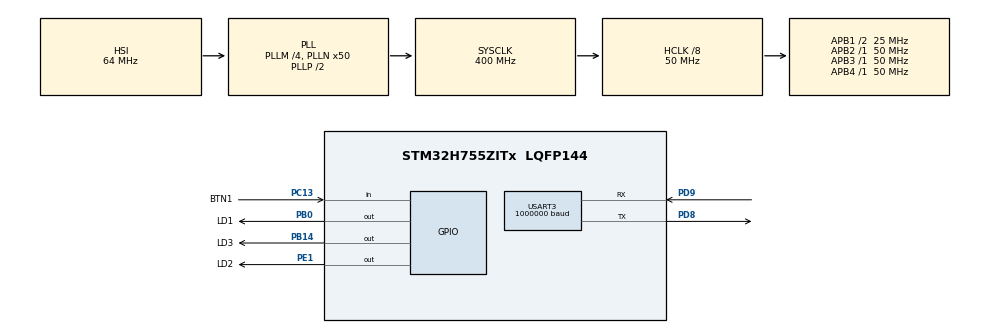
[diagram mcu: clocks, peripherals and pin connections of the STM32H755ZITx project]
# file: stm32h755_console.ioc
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CORTEX_M7.default_mode_Activation=1
CortexM4.IPs=CORTEX_M4\:I,FATFS_M4\:I,FREERTOS_M4\:I,IWDG2\:I,OPENAMP_M4\:I,PDM2PCM_M4\:I,PWR,RCC,RESMGR_UTILITY,SYS_M4\:I,USB_DEVICE_M4\:I,USB_HOST_M4\:I,VREFBUF,WWDG2\:I,GPIO,DMA,BDMA,MDMA,NVIC2\:I
CortexM7.IPs=CORTEX_M7\:I,FATFS_M7\:I,FREERTOS_M7\:I,IWDG1\:I,OPENAMP_M7\:I,PDM2PCM_M7\:I,PWR\:I,RCC\:I,RESMGR_UTILITY\:I,SYS\:I,USB_DEVICE_M7\:I,USB_HOST_M7\:I,VREFBUF\:I,WWDG1\:I,GPIO\:I,DMA\:I,BDMA\:I,MDMA\:I,NVIC1\:I,USART3\:I,TIM1\:I,TIM2\:I
CortexM7.Pins=PC13,PB0,PB14,PE1
Dma.Request0=USART3_TX
Dma.USART3_TX.0.Instance=DMA1_Stream0
Dma.USART3_TX.0.Direction=DMA_MEMORY_TO_PERIPH
Dma.USART3_TX.0.PeriphInc=DMA_PINC_DISABLE
Dma.USART3_TX.0.MemInc=DMA_MINC_ENABLE
Dma.USART3_TX.0.PeriphDataAlignment=DMA_PDATAALIGN_BYTE
Dma.USART3_TX.0.MemDataAlignment=DMA_MDATAALIGN_BYTE
Dma.USART3_TX.0.Mode=DMA_NORMAL
Dma.USART3_TX.0.Priority=DMA_PRIORITY_LOW
Dma.USART3_TX.0.FIFOMode=DMA_FIFOMODE_DISABLE
Mcu.Family=STM32H7
Mcu.Name=STM32H755ZITx
Mcu.Package=LQFP144
NVIC1.DMA1_Stream0_IRQn=true\:5\:0\:false\:false\:true\:true\:true\:true
NVIC1.FPU_IRQn=true\:0\:0\:false\:false\:true\:true\:false\:true
NVIC1.PriorityGroup=NVIC_PRIORITYGROUP_4
NVIC1.RCC_IRQn=true\:0\:0\:false\:false\:true\:true\:false\:true
NVIC1.USART3_IRQn=true\:0\:0\:false\:false\:true\:true\:true\:true
NVIC2.PriorityGroup=NVIC_PRIORITYGROUP_4
PB0.GPIO_Label=LD1
PB0.PinAttribute=CortexM7
PB0.Signal=GPIO_Output
PB14.GPIO_Label=LD3
PB14.PinAttribute=CortexM7
PB14.Signal=GPIO_Output
PC13.GPIO_Label=BTN1
PC13.PinAttribute=CortexM7
PC13.Signal=GPIO_Input
PD8.Mode=Asynchronous
PD8.PinAttribute=CortexM7
PD8.Signal=USART3_TX
PD9.Mode=Asynchronous
PD9.PinAttribute=CortexM7
PD9.Signal=USART3_RX
PE1.GPIO_Label=LD2
PE1.PinAttribute=CortexM7
PE1.Signal=GPIO_Output
ProjectManager.HeapSize=0x0
ProjectManager.StackSize=M4-0x400,M7-0x4000
ProjectManager.TargetToolchain=CMake
RCC.ADCFreq_Value=32000000
RCC.APB1Freq_Value=25000000
RCC.APB2Freq_Value=50000000
RCC.APB3Freq_Value=50000000
RCC.APB4Freq_Value=50000000
RCC.CortexFreq_Value=400000000
RCC.D2PPRE1=RCC_APB1_DIV2
RCC.DIVM1=4
RCC.DIVM2=4
RCC.DIVM3=4
RCC.DIVN1=50
RCC.DIVN2=16
RCC.DIVN3=16
RCC.HSE_VALUE=8000000
RCC.HCLKFreq_Value=50000000
RCC.HPRE=RCC_HCLK_DIV8
RCC.PLLSourceVirtual=RCC_PLLSOURCE_HSI
RCC.SYSCLKFreq_VALUE=400000000
RCC.SYSCLKSource=RCC_SYSCLKSOURCE_PLLCLK
RCC.USBFreq_Value=400000000
SYS.userName=SYS_M7
USART3.BaudRate=1000000
USART3.VirtualMode-Asynchronous=VM_ASYNC
VP_SYS_M4_VS_Systick.Mode=SysTick
board=custom

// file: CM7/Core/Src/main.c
/* USER CODE BEGIN Header */
/**
  ******************************************************************************
  * @file           : main.c
  * @brief          : Main program body
  ******************************************************************************
  * @attention
  *
  * Copyright (c) 2026 STMicroelectronics.
  * All rights reserved.
  *
  * This software is licensed under terms that can be found in the LICENSE file
  * in the root directory of this software component.
  * If no LICENSE file comes with this software, it is provided AS-IS.
  *
  ******************************************************************************
  */
/* USER CODE END Header */
#include "main.h"

/* USER CODE BEGIN Includes */
#include "appmain.h"

/* USER CODE END Includes */

/* USER CODE BEGIN PD */

/* DUAL_CORE_BOOT_SYNC_SEQUENCE: Define for dual core boot synchronization    */
/*                             demonstration code based on hardware semaphore */
/* This define is present in both CM7/CM4 projects                            */
/* To comment when developping/debugging on a single core                     */
#define DUAL_CORE_BOOT_SYNC_SEQUENCE

#if defined(DUAL_CORE_BOOT_SYNC_SEQUENCE)
#ifndef HSEM_ID_0
#define HSEM_ID_0 (0U) /* HW semaphore 0*/
#endif
/* M4 paints its full remaining SRAM before entering stop. Allow that
   bounded startup work when M7 boots directly, without the bootloader. */
static const int32_t kBootSyncBudget = 1000000;
#endif /* DUAL_CORE_BOOT_SYNC_SEQUENCE */

/* USER CODE END PD */

UART_HandleTypeDef huart3;

void SystemClock_Config(void);
static void MPU_Config(void);
static void MX_GPIO_Init(void);
static void MX_DMA_Init(void);
static void MX_USART3_UART_Init(void);

/* USER CODE BEGIN 0 */
__attribute__((weak)) void app_early_init(void) {}
__attribute__((weak)) void app_init_failed(void) {}

/* USER CODE END 0 */

int main(void)
{

  /* USER CODE BEGIN 1 */
  SCB->SHCSR |= SCB_SHCSR_MEMFAULTENA_Msk | SCB_SHCSR_BUSFAULTENA_Msk |
                SCB_SHCSR_USGFAULTENA_Msk;
  __DSB();
  __ISB();
  app_early_init();

  /* USER CODE END 1 */
/* USER CODE BEGIN Boot_Mode_Sequence_0 */
#if defined(DUAL_CORE_BOOT_SYNC_SEQUENCE)
  int32_t timeout;
#endif /* DUAL_CORE_BOOT_SYNC_SEQUENCE */
/* USER CODE END Boot_Mode_Sequence_0 */

  /* MPU Configuration--------------------------------------------------------*/
  MPU_Config();

/* USER CODE BEGIN Boot_Mode_Sequence_1 */
#if defined(DUAL_CORE_BOOT_SYNC_SEQUENCE)
  /* Wait until CPU2 boots and enters in stop mode or timeout*/
  timeout = kBootSyncBudget;
  while((__HAL_RCC_GET_FLAG(RCC_FLAG_D2CKRDY) != RESET) && (timeout-- > 0));
  if ( timeout < 0 )
  {
  Error_Handler();
  }
#endif /* DUAL_CORE_BOOT_SYNC_SEQUENCE */
/* USER CODE END Boot_Mode_Sequence_1 */
  /* MCU Configuration--------------------------------------------------------*/

  /* Reset of all peripherals, Initializes the Flash interface and the Systick. */
  HAL_Init();

  /* Configure the system clock */
  SystemClock_Config();
/* USER CODE BEGIN Boot_Mode_Sequence_2 */
#if defined(DUAL_CORE_BOOT_SYNC_SEQUENCE)
/* When system initialization is finished, Cortex-M7 will release Cortex-M4 by means of
HSEM notification */
/*HW semaphore Clock enable*/
__HAL_RCC_HSEM_CLK_ENABLE();
/*Take HSEM */
HAL_HSEM_FastTake(HSEM_ID_0);
/*Release HSEM in order to notify the CPU2(CM4)*/
HAL_HSEM_Release(HSEM_ID_0,0);
/* wait until CPU2 wakes up from stop mode */
timeout = kBootSyncBudget;
while((__HAL_RCC_GET_FLAG(RCC_FLAG_D2CKRDY) == RESET) && (timeout-- > 0));
if ( timeout < 0 )
{
Error_Handler();
}
#endif /* DUAL_CORE_BOOT_SYNC_SEQUENCE */
/* USER CODE END Boot_Mode_Sequence_2 */

  /* Initialize all configured peripherals */
  MX_GPIO_Init();
  MX_DMA_Init();
  MX_USART3_UART_Init();
  /* USER CODE BEGIN 2 */
  appmain();

  /* USER CODE END 2 */

  /* Infinite loop */
  while (1)
  {

  }
}

void SystemClock_Config(void)
{
  RCC_OscInitTypeDef RCC_OscInitStruct = {0};
  RCC_ClkInitTypeDef RCC_ClkInitStruct = {0};

  /** Supply configuration update enable
  */
  HAL_PWREx_ConfigSupply(PWR_DIRECT_SMPS_SUPPLY);

  /** Configure the main internal regulator output voltage
  */
  __HAL_PWR_VOLTAGESCALING_CONFIG(PWR_REGULATOR_VOLTAGE_SCALE1);

  while(!__HAL_PWR_GET_FLAG(PWR_FLAG_VOSRDY)) {}

  /** Initializes the RCC Oscillators according to the specified parameters
  * in the RCC_OscInitTypeDef structure.
  */
  RCC_OscInitStruct.OscillatorType = RCC_OSCILLATORTYPE_HSI;
  RCC_OscInitStruct.HSIState = RCC_HSI_DIV1;
  RCC_OscInitStruct.HSICalibrationValue = RCC_HSICALIBRATION_DEFAULT;
  RCC_OscInitStruct.PLL.PLLState = RCC_PLL_ON;
  RCC_OscInitStruct.PLL.PLLSource = RCC_PLLSOURCE_HSI;
  RCC_OscInitStruct.PLL.PLLM = 4;
  RCC_OscInitStruct.PLL.PLLN = 50;
  RCC_OscInitStruct.PLL.PLLP = 2;
  RCC_OscInitStruct.PLL.PLLQ = 2;
  RCC_OscInitStruct.PLL.PLLR = 2;
  RCC_OscInitStruct.PLL.PLLRGE = RCC_PLL1VCIRANGE_3;
  RCC_OscInitStruct.PLL.PLLVCOSEL = RCC_PLL1VCOWIDE;
  RCC_OscInitStruct.PLL.PLLFRACN = 0;
  if (HAL_RCC_OscConfig(&RCC_OscInitStruct) != HAL_OK)
  {
    Error_Handler();
  }

  /** Initializes the CPU, AHB and APB buses clocks
  */
  RCC_ClkInitStruct.ClockType = RCC_CLOCKTYPE_HCLK|RCC_CLOCKTYPE_SYSCLK
                              |RCC_CLOCKTYPE_PCLK1|RCC_CLOCKTYPE_PCLK2
                              |RCC_CLOCKTYPE_D3PCLK1|RCC_CLOCKTYPE_D1PCLK1;
  RCC_ClkInitStruct.SYSCLKSource = RCC_SYSCLKSOURCE_PLLCLK;
  RCC_ClkInitStruct.SYSCLKDivider = RCC_SYSCLK_DIV1;
  RCC_ClkInitStruct.AHBCLKDivider = RCC_HCLK_DIV8;
  RCC_ClkInitStruct.APB3CLKDivider = RCC_APB3_DIV1;
  RCC_ClkInitStruct.APB1CLKDivider = RCC_APB1_DIV2;
  RCC_ClkInitStruct.APB2CLKDivider = RCC_APB2_DIV1;
  RCC_ClkInitStruct.APB4CLKDivider = RCC_APB4_DIV1;

  if (HAL_RCC_ClockConfig(&RCC_ClkInitStruct, FLASH_LATENCY_0) != HAL_OK)
  {
    Error_Handler();
  }
}

static void MX_USART3_UART_Init(void)
{

  huart3.Instance = USART3;
  huart3.Init.BaudRate = 1000000;
  huart3.Init.WordLength = UART_WORDLENGTH_8B;
  huart3.Init.StopBits = UART_STOPBITS_1;
  huart3.Init.Parity = UART_PARITY_NONE;
  huart3.Init.Mode = UART_MODE_TX_RX;
  huart3.Init.HwFlowCtl = UART_HWCONTROL_NONE;
  huart3.Init.OverSampling = UART_OVERSAMPLING_16;
  huart3.Init.OneBitSampling = UART_ONE_BIT_SAMPLE_DISABLE;
  huart3.Init.ClockPrescaler = UART_PRESCALER_DIV1;
  huart3.AdvancedInit.AdvFeatureInit = UART_ADVFEATURE_NO_INIT;
  if (HAL_UART_Init(&huart3) != HAL_OK)
  {
    Error_Handler();
  }
  if (HAL_UARTEx_SetTxFifoThreshold(&huart3, UART_TXFIFO_THRESHOLD_1_8) != HAL_OK)
  {
    Error_Handler();
  }
  if (HAL_UARTEx_SetRxFifoThreshold(&huart3, UART_RXFIFO_THRESHOLD_1_8) != HAL_OK)
  {
    Error_Handler();
  }
  if (HAL_UARTEx_DisableFifoMode(&huart3) != HAL_OK)
  {
    Error_Handler();
  }

}

static void MX_GPIO_Init(void)
{
  GPIO_InitTypeDef GPIO_InitStruct = {0};

  /* GPIO Ports Clock Enable */
  __HAL_RCC_GPIOC_CLK_ENABLE();
  __HAL_RCC_GPIOB_CLK_ENABLE();
  __HAL_RCC_GPIOD_CLK_ENABLE();
  __HAL_RCC_GPIOE_CLK_ENABLE();

  /*Configure GPIO pin Output Level */
  HAL_GPIO_WritePin(GPIOB, LD1_Pin|LD3_Pin, GPIO_PIN_RESET);

  /*Configure GPIO pin Output Level */
  HAL_GPIO_WritePin(LD2_GPIO_Port, LD2_Pin, GPIO_PIN_RESET);

  /*Configure GPIO pin : BTN1_Pin */
  GPIO_InitStruct.Pin = BTN1_Pin;
  GPIO_InitStruct.Mode = GPIO_MODE_INPUT;
  GPIO_InitStruct.Pull = GPIO_NOPULL;
  HAL_GPIO_Init(BTN1_GPIO_Port, &GPIO_InitStruct);

  /*Configure GPIO pins : LD1_Pin LD3_Pin */
  GPIO_InitStruct.Pin = LD1_Pin|LD3_Pin;
  GPIO_InitStruct.Mode = GPIO_MODE_OUTPUT_PP;
  GPIO_InitStruct.Pull = GPIO_NOPULL;
  GPIO_InitStruct.Speed = GPIO_SPEED_FREQ_LOW;
  HAL_GPIO_Init(GPIOB, &GPIO_InitStruct);

  /*Configure GPIO pin : LD2_Pin */
  GPIO_InitStruct.Pin = LD2_Pin;
  GPIO_InitStruct.Mode = GPIO_MODE_OUTPUT_PP;
  GPIO_InitStruct.Pull = GPIO_NOPULL;
  GPIO_InitStruct.Speed = GPIO_SPEED_FREQ_LOW;
  HAL_GPIO_Init(LD2_GPIO_Port, &GPIO_InitStruct);

}

/* DMA clock and NVIC must be ready before the UART MSP links its TX stream. */
static void MX_DMA_Init(void)
{
  __HAL_RCC_DMA1_CLK_ENABLE();
  HAL_NVIC_SetPriority(DMA1_Stream0_IRQn, 5, 0);
  HAL_NVIC_EnableIRQ(DMA1_Stream0_IRQn);
  /* USER CODE BEGIN DMA_Init 1 */
  __HAL_RCC_DMA1_CLK_SLEEP_ENABLE();
  __HAL_RCC_D1SRAM1_CLK_SLEEP_ENABLE();
  /* USER CODE END DMA_Init 1 */
}

 /* MPU Configuration */

void MPU_Config(void)
{
  MPU_Region_InitTypeDef MPU_InitStruct = {0};

  /* Disables the MPU */
  HAL_MPU_Disable();

  /** Initializes and configures the Region and the memory to be protected
  */
  MPU_InitStruct.Enable = MPU_REGION_ENABLE;
  MPU_InitStruct.Number = MPU_REGION_NUMBER0;
  MPU_InitStruct.BaseAddress = 0x0;
  MPU_InitStruct.Size = MPU_REGION_SIZE_4GB;
  MPU_InitStruct.SubRegionDisable = 0x87;
  MPU_InitStruct.TypeExtField = MPU_TEX_LEVEL0;
  MPU_InitStruct.AccessPermission = MPU_REGION_NO_ACCESS;
  MPU_InitStruct.DisableExec = MPU_INSTRUCTION_ACCESS_DISABLE;
  MPU_InitStruct.IsShareable = MPU_ACCESS_SHAREABLE;
  MPU_InitStruct.IsCacheable = MPU_ACCESS_NOT_CACHEABLE;
  MPU_InitStruct.IsBufferable = MPU_ACCESS_NOT_BUFFERABLE;

  HAL_MPU_ConfigRegion(&MPU_InitStruct);
  /* Enables the MPU */
  HAL_MPU_Enable(MPU_PRIVILEGED_DEFAULT);

}

void Error_Handler(void)
{
  /* USER CODE BEGIN Error_Handler_Debug */
  app_init_failed();
  NVIC_SystemReset();
  /* User can add his own implementation to report the HAL error return state */
  __disable_irq();
  while (1)
  {
  }
  /* USER CODE END Error_Handler_Debug */
}
